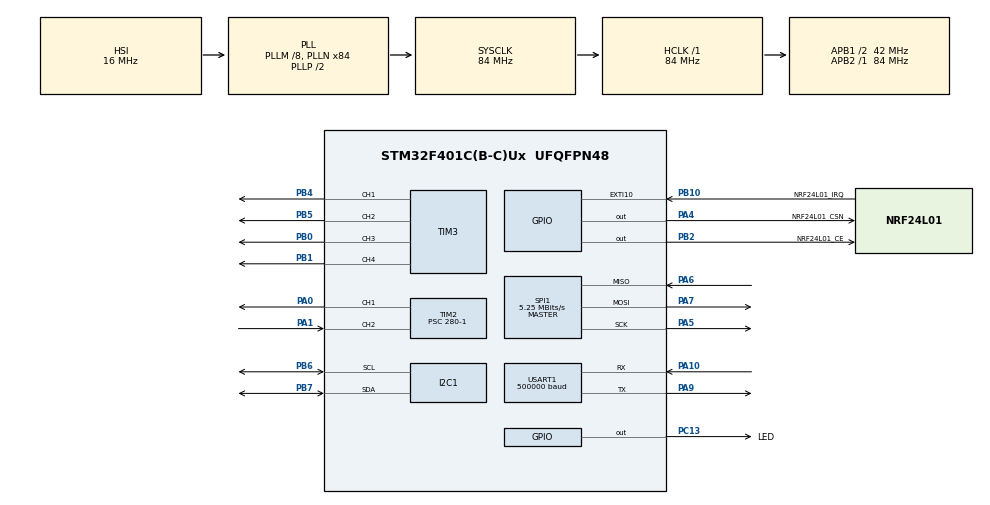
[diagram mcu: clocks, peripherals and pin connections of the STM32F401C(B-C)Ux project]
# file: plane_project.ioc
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I2C1.I2C_Mode=I2C_Fast
Mcu.Family=STM32F4
Mcu.Name=STM32F401C(B-C)Ux
Mcu.Package=UFQFPN48
NVIC.PriorityGroup=NVIC_PRIORITYGROUP_4
PA0-WKUP.Signal=S_TIM2_CH1_ETR
PA1.Signal=S_TIM2_CH2
PA10.Mode=Asynchronous
PA10.Signal=USART1_RX
PA13.Mode=Serial_Wire
PA13.Signal=SYS_JTMS-SWDIO
PA14.Mode=Serial_Wire
PA14.Signal=SYS_JTCK-SWCLK
PA4.GPIO_Label=NRF24L01_CSN
PA4.Signal=GPIO_Output
PA5.Mode=Full_Duplex_Master
PA5.Signal=SPI1_SCK
PA6.Mode=Full_Duplex_Master
PA6.Signal=SPI1_MISO
PA7.Mode=Full_Duplex_Master
PA7.Signal=SPI1_MOSI
PA9.Mode=Asynchronous
PA9.Signal=USART1_TX
PB0.Signal=S_TIM3_CH3
PB1.Signal=S_TIM3_CH4
PB10.GPIO_Label=NRF24L01_IRQ
PB10.Signal=GPXTI10
PB2.GPIO_Label=NRF24L01_CE
PB2.Signal=GPIO_Output
PB4.Signal=S_TIM3_CH1
PB5.Signal=S_TIM3_CH2
PB6.GPIO_Pu=GPIO_PULLUP
PB6.Mode=I2C
PB6.Signal=I2C1_SCL
PB7.GPIO_Pu=GPIO_PULLUP
PB7.Mode=I2C
PB7.Signal=I2C1_SDA
PC13-ANTI_TAMP.GPIO_Label=LED
PC13-ANTI_TAMP.PinState=GPIO_PIN_SET
PC13-ANTI_TAMP.Signal=GPIO_Output
PC14-OSC32_IN.Mode=LSE-External-Oscillator
PC14-OSC32_IN.Signal=RCC_OSC32_IN
PC15-OSC32_OUT.Mode=LSE-External-Oscillator
PC15-OSC32_OUT.Signal=RCC_OSC32_OUT
PH0\ -\ OSC_IN.Mode=HSE-External-Oscillator
PH0\ -\ OSC_IN.Signal=RCC_OSC_IN
PH1\ -\ OSC_OUT.Mode=HSE-External-Oscillator
PH1\ -\ OSC_OUT.Signal=RCC_OSC_OUT
ProjectManager.HeapSize=0x200
ProjectManager.StackSize=0x400
ProjectManager.TargetToolchain=MDK-ARM V5.32
RCC.48MHZClocksFreq_Value=42000000
RCC.AHBFreq_Value=84000000
RCC.APB1CLKDivider=RCC_HCLK_DIV2
RCC.APB1Freq_Value=42000000
RCC.APB1TimFreq_Value=84000000
RCC.APB2Freq_Value=84000000
RCC.APB2TimFreq_Value=84000000
RCC.CortexFreq_Value=84000000
RCC.HCLKFreq_Value=84000000
RCC.HSE_VALUE=25000000
RCC.HSI_VALUE=16000000
RCC.PLLM=8
RCC.PLLN=84
RCC.SYSCLKFreq_VALUE=84000000
RCC.SYSCLKSource=RCC_SYSCLKSOURCE_PLLCLK
RCC.VCOOutputFreq_Value=168000000
SH.S_TIM2_CH1_ETR.0=TIM2_CH1,PWM Generation1 CH1
SH.S_TIM2_CH2.0=TIM2_CH2,Input_Capture2_from_TI2
SH.S_TIM3_CH1.0=TIM3_CH1,PWM Generation1 CH1
SH.S_TIM3_CH2.0=TIM3_CH2,PWM Generation2 CH2
SH.S_TIM3_CH3.0=TIM3_CH3,PWM Generation3 CH3
SH.S_TIM3_CH4.0=TIM3_CH4,PWM Generation4 CH4
SPI1.BaudRatePrescaler=SPI_BAUDRATEPRESCALER_16
SPI1.CalculateBaudRate=5.25 MBits/s
SPI1.Direction=SPI_DIRECTION_2LINES
SPI1.Mode=SPI_MODE_MASTER
SPI1.VirtualType=VM_MASTER
TIM2.AutoReloadPreload=TIM_AUTORELOAD_PRELOAD_ENABLE
TIM2.Channel-Input_Capture2_from_TI2=TIM_CHANNEL_2
TIM2.Channel-PWM\ Generation1\ CH1=TIM_CHANNEL_1
TIM2.Period=60000-1
TIM2.Prescaler=280-1
TIM2.Pulse-PWM\ Generation1\ CH1=3
TIM3.Channel-PWM\ Generation1\ CH1=TIM_CHANNEL_1
TIM3.Channel-PWM\ Generation2\ CH2=TIM_CHANNEL_2
TIM3.Channel-PWM\ Generation3\ CH3=TIM_CHANNEL_3
TIM3.Channel-PWM\ Generation4\ CH4=TIM_CHANNEL_4
USART1.BaudRate=500000
USART1.VirtualMode=VM_ASYNC
board=custom

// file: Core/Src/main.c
/* USER CODE BEGIN Header */
/**
  ******************************************************************************
  * @file           : main.c
  * @brief          : Main program body
  ******************************************************************************
  * @attention
  *
  * <h2><center>&copy; Copyright (c) 2023 STMicroelectronics.
  * All rights reserved.</center></h2>
  *
  * This software component is licensed by ST under BSD 3-Clause license,
  * the "License"; You may not use this file except in compliance with the
  * License. You may obtain a copy of the License at:
  *                        opensource.org/licenses/BSD-3-Clause
  *
  ******************************************************************************
  */
/* USER CODE END Header */
#include "main.h"
#include "i2c.h"
#include "spi.h"
#include "tim.h"
#include "usart.h"
#include "gpio.h"

/* USER CODE BEGIN Includes */

#include "stdio.h"
#include "led.h"
#include "../../../Hardware/MPU6050/mpu6050.h"
#include "../../../Hardware/MPU6050/eMPL/inv_mpu.h"
#include "../../../Hardware/MPU6050/eMPL/inv_mpu_dmp_motion_driver.h"
#include "SPL06_001.h"

/* USER CODE END Includes */

/* USER CODE BEGIN PV */
float pitch,roll,yaw; 		//欧拉角
short aacx,aacy,aacz;		//加速度传感器原始数据
short gyrox,gyroy,gyroz;	//陀螺仪原始数据
short temp;					//温度
float presure=0;//气压
int32_t baro_height;//海拔
/* USER CODE END PV */

void SystemClock_Config(void);

int main(void)
{

  /* MCU Configuration--------------------------------------------------------*/

  /* Reset of all peripherals, Initializes the Flash interface and the Systick. */
  HAL_Init();

  /* Configure the system clock */
  SystemClock_Config();

  /* Initialize all configured peripherals */
  MX_GPIO_Init();
  MX_I2C1_Init();
  MX_USART1_UART_Init();
  MX_TIM3_Init();
  MX_SPI1_Init();
  MX_TIM2_Init();
  /* USER CODE BEGIN 2 */
  HAL_Delay(250);
  //初始化气压传感器
//  while(spl0601_init()!=0)//SPL06初始化未成功
//  {
//    printf("SPL06-001初始化失败\r\n");
//    HAL_Delay(500);
//  };
//  printf("SPL06-001初始化成功\r\n");
  //初始化MPU6050
  while(MPU_Init())
  {
	  printf("初始化失败\r\n");
  };
  while(mpu_dmp_init())
  {
	HAL_Delay(200);
	printf("%s\r\n","Mpu6050 Init Wrong!");
  }
  printf("%s\r\n","Mpu6050 Init OK!");
  /* USER CODE END 2 */

  /* Infinite loop */
  /* USER CODE BEGIN WHILE */
  while (1)
  {
	  //气压计测试
//     presure = user_spl0601_get_presure();
//     baro_height = (int32_t)((102000.0f- presure) * 78.740f);  //每1mpar平均海拔高度为78.740mm
//	 printf("%9.2f,%6d\r\n",presure,baro_height);
	  //陀螺仪测试
//	if(MPU_Get_Accelerometer(&aacx,&aacy,&aacz)==0)
//	{
//		printf("%d,%d,%d\r\n",aacx,aacy,aacz);
//	}
	if(mpu_dmp_get_data(&pitch,&roll,&yaw)==0)
	{
		//temp=MPU_Get_Temperature();				//得到温度值
//		MPU_Get_Accelerometer(&aacx,&aacy,&aacz);	//得到加速度传感器数据
//		MPU_Get_Gyroscope(&gyrox,&gyroy,&gyroz);	//得到陀螺仪数据

		printf("%f,%f,%f\r\n",pitch,roll,yaw);
	}
	else
	{
		printf("error\r\n");
	}
    /* USER CODE END WHILE */

  }
}

void SystemClock_Config(void)
{
  RCC_OscInitTypeDef RCC_OscInitStruct = {0};
  RCC_ClkInitTypeDef RCC_ClkInitStruct = {0};

  /** Configure the main internal regulator output voltage
  */
  __HAL_RCC_PWR_CLK_ENABLE();
  __HAL_PWR_VOLTAGESCALING_CONFIG(PWR_REGULATOR_VOLTAGE_SCALE2);

  /** Initializes the RCC Oscillators according to the specified parameters
  * in the RCC_OscInitTypeDef structure.
  */
  RCC_OscInitStruct.OscillatorType = RCC_OSCILLATORTYPE_HSI;
  RCC_OscInitStruct.HSIState = RCC_HSI_ON;
  RCC_OscInitStruct.HSICalibrationValue = RCC_HSICALIBRATION_DEFAULT;
  RCC_OscInitStruct.PLL.PLLState = RCC_PLL_ON;
  RCC_OscInitStruct.PLL.PLLSource = RCC_PLLSOURCE_HSI;
  RCC_OscInitStruct.PLL.PLLM = 8;
  RCC_OscInitStruct.PLL.PLLN = 84;
  RCC_OscInitStruct.PLL.PLLP = RCC_PLLP_DIV2;
  RCC_OscInitStruct.PLL.PLLQ = 4;
  if (HAL_RCC_OscConfig(&RCC_OscInitStruct) != HAL_OK)
  {
    Error_Handler();
  }

  /** Initializes the CPU, AHB and APB buses clocks
  */
  RCC_ClkInitStruct.ClockType = RCC_CLOCKTYPE_HCLK|RCC_CLOCKTYPE_SYSCLK
                              |RCC_CLOCKTYPE_PCLK1|RCC_CLOCKTYPE_PCLK2;
  RCC_ClkInitStruct.SYSCLKSource = RCC_SYSCLKSOURCE_PLLCLK;
  RCC_ClkInitStruct.AHBCLKDivider = RCC_SYSCLK_DIV1;
  RCC_ClkInitStruct.APB1CLKDivider = RCC_HCLK_DIV2;
  RCC_ClkInitStruct.APB2CLKDivider = RCC_HCLK_DIV1;

  if (HAL_RCC_ClockConfig(&RCC_ClkInitStruct, FLASH_LATENCY_2) != HAL_OK)
  {
    Error_Handler();
  }
}

void Error_Handler(void)
{
  __disable_irq();
  while (1)
  {
  }
}
